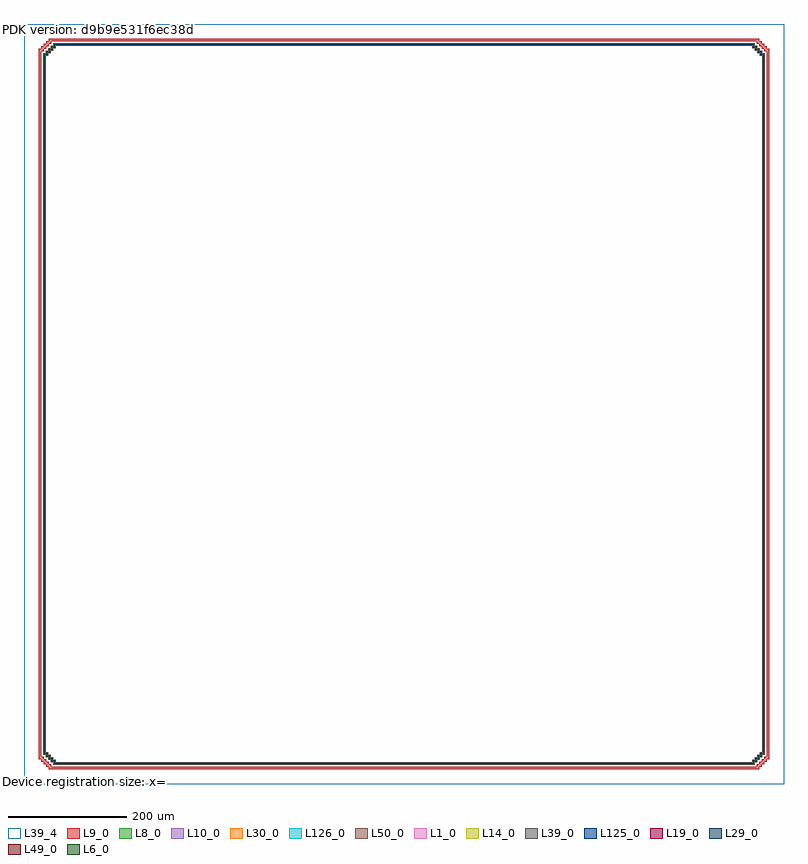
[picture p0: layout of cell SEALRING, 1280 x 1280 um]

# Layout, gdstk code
import gdstk
lib = gdstk.Library(unit=1e-6, precision=1e-09)
def R(c, l, rs):  # rectangles x0, y0, x1, y1
    for r in rs: c.add(gdstk.rectangle(r[:2], r[2:], *l))
def P(c, l, *ps):  # polygons
    for p in ps: c.add(gdstk.Polygon(p, *l))
L1_0 = (1, 0)
L6_0 = (6, 0)
L8_0 = (8, 0)
L9_0 = (9, 0)
L10_0 = (10, 0)
L14_0 = (14, 0)
L19_0 = (19, 0)
L29_0 = (29, 0)
L30_0 = (30, 0)
L39_0 = (39, 0)
L39_4 = (39, 4)
L49_0 = (49, 0)
L50_0 = (50, 0)
L125_0 = (125, 0)
L126_0 = (126, 0)

sealring = lib.new_cell('SEALRING')
R(sealring, L1_0, [(49,32.2,53.2,40.6), (53.2,32.2,1226.8,36.4), (1226.8,32.2,1231,36.4), (44.8,36.4,49,44.8), (1226.8,36.4,1235.2,40.6), (40.6,40.6,44.8,49), (1231,40.6,1239.4,44.8), (36.4,44.8,40.6,53.2), (1235.2,44.8,1243.6,49), (32.2,49,36.4,53.2), (1239.4,49,1247.8,53.2), (32.2,53.2,36.4,1226.8), (1243.6,53.2,1247.8,1226.8), (32.2,1226.8,40.6,1231), (1239.4,1226.8,1243.6,1235.2), (1243.6,1226.8,1247.8,1231), (36.4,1231,44.8,1235.2), (1235.2,1231,1239.4,1239.4), (40.6,1235.2,49,1239.4), (1231,1235.2,1235.2,1243.6), (44.8,1239.4,53.2,1243.6), (1226.8,1239.4,1231,1247.8), (49,1243.6,53.2,1247.8), (53.2,1243.6,1226.8,1247.8)])
R(sealring, L6_0, [(53.2,34.2,1226.8,34.36), (34.2,53.2,34.36,1226.8), (1245.64,53.2,1245.8,1226.8), (53.2,1245.64,1226.8,1245.8)])
P(sealring, L6_0, [(1245.64,1226.8),(1245.64,1228.84),(1241.44,1228.84),(1241.44,1233.04),(1237.24,1233.04),(1237.24,1237.24),(1233.04,1237.24),(1233.04,1241.44),(1228.84,1241.44),(1228.84,1245.64),(1226.8,1245.64),(1226.8,1245.8),(1229,1245.8),(1229,1241.6),(1233.2,1241.6),(1233.2,1237.4),(1237.4,1237.4),(1237.4,1233.2),(1241.6,1233.2),(1241.6,1229),(1245.8,1229),(1245.8,1226.8)],
  [(51,34.2),(51,38.4),(46.8,38.4),(46.8,42.6),(42.6,42.6),(42.6,46.8),(38.4,46.8),(38.4,51),(34.2,51),(34.2,53.2),(34.36,53.2),(34.36,51.16),(38.56,51.16),(38.56,46.96),(42.76,46.96),(42.76,42.76),(46.96,42.76),(46.96,38.56),(51.16,38.56),(51.16,34.36),(53.2,34.36),(53.2,34.2)],
  [(1226.8,34.2),(1226.8,34.36),(1228.84,34.36),(1228.84,38.56),(1233.04,38.56),(1233.04,42.76),(1237.24,42.76),(1237.24,46.96),(1241.44,46.96),(1241.44,51.16),(1245.64,51.16),(1245.64,53.2),(1245.8,53.2),(1245.8,51),(1241.6,51),(1241.6,46.8),(1237.4,46.8),(1237.4,42.6),(1233.2,42.6),(1233.2,38.4),(1229,38.4),(1229,34.2)],
  [(34.2,1226.8),(34.2,1229),(38.4,1229),(38.4,1233.2),(42.6,1233.2),(42.6,1237.4),(46.8,1237.4),(46.8,1241.6),(51,1241.6),(51,1245.8),(53.2,1245.8),(53.2,1245.64),(51.16,1245.64),(51.16,1241.44),(46.96,1241.44),(46.96,1237.24),(42.76,1237.24),(42.76,1233.04),(38.56,1233.04),(38.56,1228.84),(34.36,1228.84),(34.36,1226.8)])
R(sealring, L8_0, [(49,32.2,53.2,40.6), (53.2,32.2,1226.8,36.4), (1226.8,32.2,1231,36.4), (44.8,36.4,49,44.8), (1226.8,36.4,1235.2,40.6), (40.6,40.6,44.8,49), (1231,40.6,1239.4,44.8), (36.4,44.8,40.6,53.2), (1235.2,44.8,1243.6,49), (32.2,49,36.4,53.2), (1239.4,49,1247.8,53.2), (32.2,53.2,36.4,1226.8), (1243.6,53.2,1247.8,1226.8), (32.2,1226.8,40.6,1231), (1239.4,1226.8,1243.6,1235.2), (1243.6,1226.8,1247.8,1231), (36.4,1231,44.8,1235.2), (1235.2,1231,1239.4,1239.4), (40.6,1235.2,49,1239.4), (1231,1235.2,1235.2,1243.6), (44.8,1239.4,53.2,1243.6), (1226.8,1239.4,1231,1247.8), (49,1243.6,53.2,1247.8), (53.2,1243.6,1226.8,1247.8)])
R(sealring, L9_0, [(53.2,25,1226.8,29.2), (25,53.2,29.2,1226.8), (1250.8,53.2,1255,1226.8), (53.2,1250.8,1226.8,1255)])
P(sealring, L9_0, [(41.8,25),(41.8,29.2),(37.6,29.2),(37.6,33.4),(33.4,33.4),(33.4,37.6),(29.2,37.6),(29.2,41.8),(25,41.8),(25,53.2),(29.2,53.2),(29.2,46),(33.4,46),(33.4,41.8),(37.6,41.8),(37.6,37.6),(41.8,37.6),(41.8,33.4),(46,33.4),(46,29.2),(78.2,29.2),(78.2,25)],
  [(1250.8,1226.8),(1250.8,1234),(1246.6,1234),(1246.6,1238.2),(1242.4,1238.2),(1242.4,1242.4),(1238.2,1242.4),(1238.2,1246.6),(1234,1246.6),(1234,1250.8),(1201.8,1250.8),(1201.8,1255),(1238.2,1255),(1238.2,1250.8),(1242.4,1250.8),(1242.4,1246.6),(1246.6,1246.6),(1246.6,1242.4),(1250.8,1242.4),(1250.8,1238.2),(1255,1238.2),(1255,1226.8)],
  [(1226.8,25),(1226.8,29.2),(1234,29.2),(1234,33.4),(1238.2,33.4),(1238.2,37.6),(1242.4,37.6),(1242.4,41.8),(1246.6,41.8),(1246.6,46),(1250.8,46),(1250.8,78.2),(1255,78.2),(1255,41.8),(1250.8,41.8),(1250.8,37.6),(1246.6,37.6),(1246.6,33.4),(1242.4,33.4),(1242.4,29.2),(1238.2,29.2),(1238.2,25)],
  [(25,1201.8),(25,1238.2),(29.2,1238.2),(29.2,1242.4),(33.4,1242.4),(33.4,1246.6),(37.6,1246.6),(37.6,1250.8),(41.8,1250.8),(41.8,1255),(53.2,1255),(53.2,1250.8),(46,1250.8),(46,1246.6),(41.8,1246.6),(41.8,1242.4),(37.6,1242.4),(37.6,1238.2),(33.4,1238.2),(33.4,1234),(29.2,1234),(29.2,1201.8)])
R(sealring, L10_0, [(49,32.2,53.2,40.6), (53.2,32.2,1226.8,36.4), (1226.8,32.2,1231,36.4), (44.8,36.4,49,44.8), (1226.8,36.4,1235.2,40.6), (40.6,40.6,44.8,49), (1231,40.6,1239.4,44.8), (36.4,44.8,40.6,53.2), (1235.2,44.8,1243.6,49), (32.2,49,36.4,53.2), (1239.4,49,1247.8,53.2), (32.2,53.2,36.4,1226.8), (1243.6,53.2,1247.8,1226.8), (32.2,1226.8,40.6,1231), (1239.4,1226.8,1243.6,1235.2), (1243.6,1226.8,1247.8,1231), (36.4,1231,44.8,1235.2), (1235.2,1231,1239.4,1239.4), (40.6,1235.2,49,1239.4), (1231,1235.2,1235.2,1243.6), (44.8,1239.4,53.2,1243.6), (1226.8,1239.4,1231,1247.8), (49,1243.6,53.2,1247.8), (53.2,1243.6,1226.8,1247.8)])
R(sealring, L14_0, [(49,32.2,53.2,40.6), (53.2,32.2,1226.8,36.4), (1226.8,32.2,1231,36.4), (44.8,36.4,49,44.8), (1226.8,36.4,1235.2,40.6), (40.6,40.6,44.8,49), (1231,40.6,1239.4,44.8), (36.4,44.8,40.6,53.2), (1235.2,44.8,1243.6,49), (32.2,49,36.4,53.2), (1239.4,49,1247.8,53.2), (32.2,53.2,36.4,1226.8), (1243.6,53.2,1247.8,1226.8), (32.2,1226.8,40.6,1231), (1239.4,1226.8,1243.6,1235.2), (1243.6,1226.8,1247.8,1231), (36.4,1231,44.8,1235.2), (1235.2,1231,1239.4,1239.4), (40.6,1235.2,49,1239.4), (1231,1235.2,1235.2,1243.6), (44.8,1239.4,53.2,1243.6), (1226.8,1239.4,1231,1247.8), (49,1243.6,53.2,1247.8), (53.2,1243.6,1226.8,1247.8)])
R(sealring, L19_0, [(53.2,34.2,1226.8,34.39), (34.2,53.2,34.39,1226.8), (1245.61,53.2,1245.8,1226.8), (53.2,1245.61,1226.8,1245.8)])
P(sealring, L19_0, [(1245.61,1226.8),(1245.61,1228.81),(1241.41,1228.81),(1241.41,1233.01),(1237.21,1233.01),(1237.21,1237.21),(1233.01,1237.21),(1233.01,1241.41),(1228.81,1241.41),(1228.81,1245.61),(1226.8,1245.61),(1226.8,1245.8),(1229,1245.8),(1229,1241.6),(1233.2,1241.6),(1233.2,1237.4),(1237.4,1237.4),(1237.4,1233.2),(1241.6,1233.2),(1241.6,1229),(1245.8,1229),(1245.8,1226.8)],
  [(51,34.2),(51,38.4),(46.8,38.4),(46.8,42.6),(42.6,42.6),(42.6,46.8),(38.4,46.8),(38.4,51),(34.2,51),(34.2,53.2),(34.39,53.2),(34.39,51.19),(38.59,51.19),(38.59,46.99),(42.79,46.99),(42.79,42.79),(46.99,42.79),(46.99,38.59),(51.19,38.59),(51.19,34.39),(53.2,34.39),(53.2,34.2)],
  [(1226.8,34.2),(1226.8,34.39),(1228.81,34.39),(1228.81,38.59),(1233.01,38.59),(1233.01,42.79),(1237.21,42.79),(1237.21,46.99),(1241.41,46.99),(1241.41,51.19),(1245.61,51.19),(1245.61,53.2),(1245.8,53.2),(1245.8,51),(1241.6,51),(1241.6,46.8),(1237.4,46.8),(1237.4,42.6),(1233.2,42.6),(1233.2,38.4),(1229,38.4),(1229,34.2)],
  [(34.2,1226.8),(34.2,1229),(38.4,1229),(38.4,1233.2),(42.6,1233.2),(42.6,1237.4),(46.8,1237.4),(46.8,1241.6),(51,1241.6),(51,1245.8),(53.2,1245.8),(53.2,1245.61),(51.19,1245.61),(51.19,1241.41),(46.99,1241.41),(46.99,1237.21),(42.79,1237.21),(42.79,1233.01),(38.59,1233.01),(38.59,1228.81),(34.39,1228.81),(34.39,1226.8)])
R(sealring, L29_0, [(53.2,34.2,1226.8,34.39), (34.2,53.2,34.39,1226.8), (1245.61,53.2,1245.8,1226.8), (53.2,1245.61,1226.8,1245.8)])
P(sealring, L29_0, [(1245.61,1226.8),(1245.61,1228.81),(1241.41,1228.81),(1241.41,1233.01),(1237.21,1233.01),(1237.21,1237.21),(1233.01,1237.21),(1233.01,1241.41),(1228.81,1241.41),(1228.81,1245.61),(1226.8,1245.61),(1226.8,1245.8),(1229,1245.8),(1229,1241.6),(1233.2,1241.6),(1233.2,1237.4),(1237.4,1237.4),(1237.4,1233.2),(1241.6,1233.2),(1241.6,1229),(1245.8,1229),(1245.8,1226.8)],
  [(51,34.2),(51,38.4),(46.8,38.4),(46.8,42.6),(42.6,42.6),(42.6,46.8),(38.4,46.8),(38.4,51),(34.2,51),(34.2,53.2),(34.39,53.2),(34.39,51.19),(38.59,51.19),(38.59,46.99),(42.79,46.99),(42.79,42.79),(46.99,42.79),(46.99,38.59),(51.19,38.59),(51.19,34.39),(53.2,34.39),(53.2,34.2)],
  [(1226.8,34.2),(1226.8,34.39),(1228.81,34.39),(1228.81,38.59),(1233.01,38.59),(1233.01,42.79),(1237.21,42.79),(1237.21,46.99),(1241.41,46.99),(1241.41,51.19),(1245.61,51.19),(1245.61,53.2),(1245.8,53.2),(1245.8,51),(1241.6,51),(1241.6,46.8),(1237.4,46.8),(1237.4,42.6),(1233.2,42.6),(1233.2,38.4),(1229,38.4),(1229,34.2)],
  [(34.2,1226.8),(34.2,1229),(38.4,1229),(38.4,1233.2),(42.6,1233.2),(42.6,1237.4),(46.8,1237.4),(46.8,1241.6),(51,1241.6),(51,1245.8),(53.2,1245.8),(53.2,1245.61),(51.19,1245.61),(51.19,1241.41),(46.99,1241.41),(46.99,1237.21),(42.79,1237.21),(42.79,1233.01),(38.59,1233.01),(38.59,1228.81),(34.39,1228.81),(34.39,1226.8)])
R(sealring, L30_0, [(49,32.2,53.2,40.6), (53.2,32.2,1226.8,36.4), (1226.8,32.2,1231,36.4), (44.8,36.4,49,44.8), (1226.8,36.4,1235.2,40.6), (40.6,40.6,44.8,49), (1231,40.6,1239.4,44.8), (36.4,44.8,40.6,53.2), (1235.2,44.8,1243.6,49), (32.2,49,36.4,53.2), (1239.4,49,1247.8,53.2), (32.2,53.2,36.4,1226.8), (1243.6,53.2,1247.8,1226.8), (32.2,1226.8,40.6,1231), (1239.4,1226.8,1243.6,1235.2), (1243.6,1226.8,1247.8,1231), (36.4,1231,44.8,1235.2), (1235.2,1231,1239.4,1239.4), (40.6,1235.2,49,1239.4), (1231,1235.2,1235.2,1243.6), (44.8,1239.4,53.2,1243.6), (1226.8,1239.4,1231,1247.8), (49,1243.6,53.2,1247.8), (53.2,1243.6,1226.8,1247.8)])
R(sealring, L39_0, [(49,32.2,53.2,40.6), (53.2,32.2,1226.8,36.4), (1226.8,32.2,1231,36.4), (44.8,36.4,49,44.8), (1226.8,36.4,1235.2,40.6), (40.6,40.6,44.8,49), (1231,40.6,1239.4,44.8), (36.4,44.8,40.6,53.2), (1235.2,44.8,1243.6,49), (32.2,49,36.4,53.2), (1239.4,49,1247.8,53.2), (32.2,53.2,36.4,1226.8), (1243.6,53.2,1247.8,1226.8), (32.2,1226.8,40.6,1231), (1239.4,1226.8,1243.6,1235.2), (1243.6,1226.8,1247.8,1231), (36.4,1231,44.8,1235.2), (1235.2,1231,1239.4,1239.4), (40.6,1235.2,49,1239.4), (1231,1235.2,1235.2,1243.6), (44.8,1239.4,53.2,1243.6), (1226.8,1239.4,1231,1247.8), (49,1243.6,53.2,1247.8), (53.2,1243.6,1226.8,1247.8)])
R(sealring, L39_4, [(0,0,1280,1280)])
R(sealring, L49_0, [(53.2,34.2,1226.8,34.39), (34.2,53.2,34.39,1226.8), (1245.61,53.2,1245.8,1226.8), (53.2,1245.61,1226.8,1245.8)])
P(sealring, L49_0, [(1245.61,1226.8),(1245.61,1228.81),(1241.41,1228.81),(1241.41,1233.01),(1237.21,1233.01),(1237.21,1237.21),(1233.01,1237.21),(1233.01,1241.41),(1228.81,1241.41),(1228.81,1245.61),(1226.8,1245.61),(1226.8,1245.8),(1229,1245.8),(1229,1241.6),(1233.2,1241.6),(1233.2,1237.4),(1237.4,1237.4),(1237.4,1233.2),(1241.6,1233.2),(1241.6,1229),(1245.8,1229),(1245.8,1226.8)],
  [(51,34.2),(51,38.4),(46.8,38.4),(46.8,42.6),(42.6,42.6),(42.6,46.8),(38.4,46.8),(38.4,51),(34.2,51),(34.2,53.2),(34.39,53.2),(34.39,51.19),(38.59,51.19),(38.59,46.99),(42.79,46.99),(42.79,42.79),(46.99,42.79),(46.99,38.59),(51.19,38.59),(51.19,34.39),(53.2,34.39),(53.2,34.2)],
  [(1226.8,34.2),(1226.8,34.39),(1228.81,34.39),(1228.81,38.59),(1233.01,38.59),(1233.01,42.79),(1237.21,42.79),(1237.21,46.99),(1241.41,46.99),(1241.41,51.19),(1245.61,51.19),(1245.61,53.2),(1245.8,53.2),(1245.8,51),(1241.6,51),(1241.6,46.8),(1237.4,46.8),(1237.4,42.6),(1233.2,42.6),(1233.2,38.4),(1229,38.4),(1229,34.2)],
  [(34.2,1226.8),(34.2,1229),(38.4,1229),(38.4,1233.2),(42.6,1233.2),(42.6,1237.4),(46.8,1237.4),(46.8,1241.6),(51,1241.6),(51,1245.8),(53.2,1245.8),(53.2,1245.61),(51.19,1245.61),(51.19,1241.41),(46.99,1241.41),(46.99,1237.21),(42.79,1237.21),(42.79,1233.01),(38.59,1233.01),(38.59,1228.81),(34.39,1228.81),(34.39,1226.8)])
R(sealring, L50_0, [(49,32.2,53.2,40.6), (53.2,32.2,1226.8,36.4), (1226.8,32.2,1231,36.4), (44.8,36.4,49,44.8), (1226.8,36.4,1235.2,40.6), (40.6,40.6,44.8,49), (1231,40.6,1239.4,44.8), (36.4,44.8,40.6,53.2), (1235.2,44.8,1243.6,49), (32.2,49,36.4,53.2), (1239.4,49,1247.8,53.2), (32.2,53.2,36.4,1226.8), (1243.6,53.2,1247.8,1226.8), (32.2,1226.8,40.6,1231), (1239.4,1226.8,1243.6,1235.2), (1243.6,1226.8,1247.8,1231), (36.4,1231,44.8,1235.2), (1235.2,1231,1239.4,1239.4), (40.6,1235.2,49,1239.4), (1231,1235.2,1235.2,1243.6), (44.8,1239.4,53.2,1243.6), (1226.8,1239.4,1231,1247.8), (49,1243.6,53.2,1247.8), (53.2,1243.6,1226.8,1247.8)])
R(sealring, L125_0, [(53.2,34.2,1226.8,34.62), (34.2,53.2,34.62,1226.8), (1245.38,53.2,1245.8,1226.8), (53.2,1245.38,1226.8,1245.8)])
P(sealring, L125_0, [(1245.38,1226.8),(1245.38,1228.58),(1241.18,1228.58),(1241.18,1232.78),(1236.98,1232.78),(1236.98,1236.98),(1232.78,1236.98),(1232.78,1241.18),(1228.58,1241.18),(1228.58,1245.38),(1226.8,1245.38),(1226.8,1245.8),(1229,1245.8),(1229,1241.6),(1233.2,1241.6),(1233.2,1237.4),(1237.4,1237.4),(1237.4,1233.2),(1241.6,1233.2),(1241.6,1229),(1245.8,1229),(1245.8,1226.8)],
  [(51,34.2),(51,38.4),(46.8,38.4),(46.8,42.6),(42.6,42.6),(42.6,46.8),(38.4,46.8),(38.4,51),(34.2,51),(34.2,53.2),(34.62,53.2),(34.62,51.42),(38.82,51.42),(38.82,47.22),(43.02,47.22),(43.02,43.02),(47.22,43.02),(47.22,38.82),(51.42,38.82),(51.42,34.62),(53.2,34.62),(53.2,34.2)],
  [(1226.8,34.2),(1226.8,34.62),(1228.58,34.62),(1228.58,38.82),(1232.78,38.82),(1232.78,43.02),(1236.98,43.02),(1236.98,47.22),(1241.18,47.22),(1241.18,51.42),(1245.38,51.42),(1245.38,53.2),(1245.8,53.2),(1245.8,51),(1241.6,51),(1241.6,46.8),(1237.4,46.8),(1237.4,42.6),(1233.2,42.6),(1233.2,38.4),(1229,38.4),(1229,34.2)],
  [(34.2,1226.8),(34.2,1229),(38.4,1229),(38.4,1233.2),(42.6,1233.2),(42.6,1237.4),(46.8,1237.4),(46.8,1241.6),(51,1241.6),(51,1245.8),(53.2,1245.8),(53.2,1245.38),(51.42,1245.38),(51.42,1241.18),(47.22,1241.18),(47.22,1236.98),(43.02,1236.98),(43.02,1232.78),(38.82,1232.78),(38.82,1228.58),(34.62,1228.58),(34.62,1226.8)])
R(sealring, L126_0, [(49,32.2,53.2,40.6), (53.2,32.2,1226.8,36.4), (1226.8,32.2,1231,36.4), (44.8,36.4,49,44.8), (1226.8,36.4,1235.2,40.6), (40.6,40.6,44.8,49), (1231,40.6,1239.4,44.8), (36.4,44.8,40.6,53.2), (1235.2,44.8,1243.6,49), (32.2,49,36.4,53.2), (1239.4,49,1247.8,53.2), (32.2,53.2,36.4,1226.8), (1243.6,53.2,1247.8,1226.8), (32.2,1226.8,40.6,1231), (1239.4,1226.8,1243.6,1235.2), (1243.6,1226.8,1247.8,1231), (36.4,1231,44.8,1235.2), (1235.2,1231,1239.4,1239.4), (40.6,1235.2,49,1239.4), (1231,1235.2,1235.2,1243.6), (44.8,1239.4,53.2,1243.6), (1226.8,1239.4,1231,1247.8), (49,1243.6,53.2,1247.8), (53.2,1243.6,1226.8,1247.8)])
sealring.add(gdstk.Label('Device registration size: x=1280.0 um ; y=1280.0 um\nCalculated area: 1.6384 sq mm', (5,5), layer=63, texttype=0))
sealring.add(gdstk.Label('PDK version: d9b9e531f6ec38db30ba7e5b1a8cb553bffc0092', (5,1270), layer=63, texttype=0))

lib.write_gds('SEALRING.gds')
